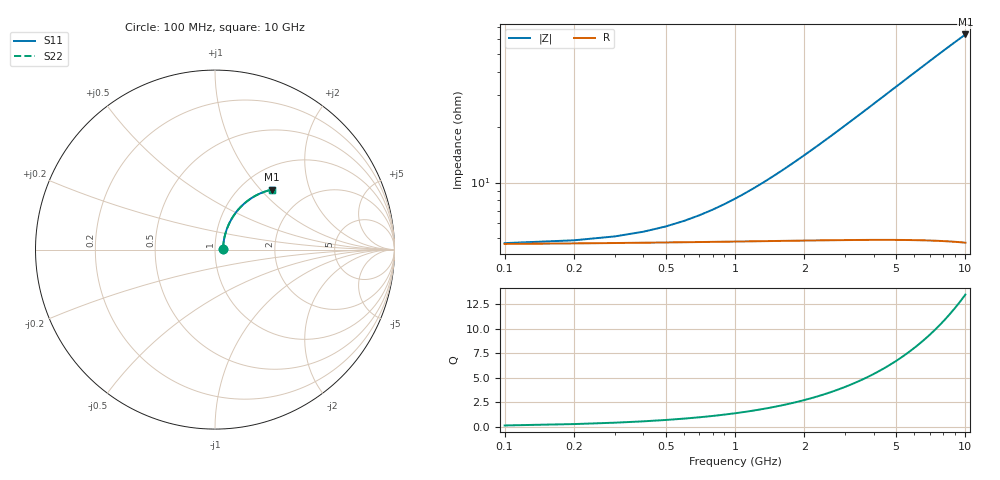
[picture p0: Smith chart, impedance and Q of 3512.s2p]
# Hz S RI R 50.00
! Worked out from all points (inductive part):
!   100 points, 100 MHz to 10 GHz, reference 50 ohm
!   read as one part in series: L = 1.05 nH near 2.2 GHz
!   highest Q = 13.5 at 10 GHz (marker M1), where L = 1.01 nH
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1e8  0.0444 0.00509  0.9556 -0.00701  0.9556 -0.00701  0.0444 0.00509
2e8  0.0448 0.0102  0.9552 -0.014  0.9552 -0.014  0.0448 0.0102
3e8  0.0452 0.0152  0.9548 -0.021  0.9548 -0.021  0.0452 0.0152
4e8  0.0456 0.0203  0.9544 -0.028  0.9544 -0.028  0.0456 0.0203
6e8  0.0466 0.0304  0.9533 -0.042  0.9533 -0.042  0.0466 0.0304
1e9  0.0494 0.0505  0.9504 -0.0697  0.9504 -0.0697  0.0494 0.0505
1.3e9  0.0522 0.0654  0.9475 -0.0904  0.9475 -0.0904  0.0522 0.0654
1.5e9  0.0544 0.0753  0.9452 -0.1041  0.9452 -0.1041  0.0544 0.0753
1.8e9  0.0581 0.0899  0.9412 -0.1245  0.9412 -0.1245  0.0581 0.0899
2.1e9  0.0625 0.1043  0.9366 -0.1447  0.9366 -0.1447  0.0625 0.1043
2.5e9  0.0693 0.123  0.9294 -0.1711  0.9294 -0.1711  0.0693 0.123
2.9e9  0.0771 0.1413  0.9212 -0.1971  0.9212 -0.1971  0.0771 0.1413
3.4e9  0.0882 0.1633  0.9095 -0.2288  0.9095 -0.2288  0.0882 0.1633
3.8e9  0.0981 0.1801  0.8991 -0.2533  0.8991 -0.2533  0.0981 0.1801
4.2e9  0.1089 0.1963  0.8877 -0.2772  0.8877 -0.2772  0.1089 0.1963
4.6e9  0.1204 0.2116  0.8755 -0.3003  0.8755 -0.3003  0.1204 0.2116
5.1e9  0.1358 0.2297  0.8592 -0.3281  0.8592 -0.3281  0.1358 0.2297
5.9e9  0.1624 0.2559  0.8308 -0.3699  0.8308 -0.3699  0.1624 0.2559
6.7e9  0.1911 0.2785  0.8002 -0.4082  0.8002 -0.4082  0.1911 0.2785
7.5e9  0.2212 0.2976  0.7679 -0.4429  0.7679 -0.4429  0.2212 0.2976
8.4e9  0.2561 0.3147  0.7301 -0.4778  0.7301 -0.4778  0.2561 0.3147
1e10  0.3193 0.3345  0.661 -0.5294  0.661 -0.5294  0.3193 0.3345
